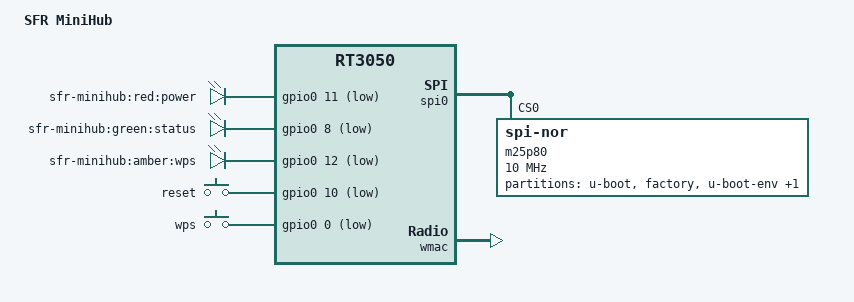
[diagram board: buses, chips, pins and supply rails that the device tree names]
/dts-v1/;

#include "rt3050.dtsi"

/ {
	compatible = "SFR-MINIHUB", "ralink,rt3050-soc";
	model = "SFR MiniHub";

	gpio-leds {
		compatible = "gpio-leds";

		power {
			label = "sfr-minihub:red:power";
			gpios = <&gpio0 11 1>;
		};

		status {
			label = "sfr-minihub:green:status";
			gpios = <&gpio0 8 1>;
		};

		wps {
			label = "sfr-minihub:amber:wps";
			gpios = <&gpio0 12 1>;
		};
	};

	gpio-keys-polled {
		compatible = "gpio-keys-polled";
		#address-cells = <1>;
		#size-cells = <0>;
		poll-interval = <20>;

		reset {
			label = "reset";
			gpios = <&gpio0 10 1>;
			linux,code = <0x198>;
		};

		wps {
			label = "wps";
			gpios = <&gpio0 0 1>;
			linux,code = <0x211>;
		};
	};
};

&gpio0 {
	status = "okay";
};

&spi0 {
	status = "okay";

	m25p80@0 {
		#address-cells = <1>;
		#size-cells = <1>;
		compatible = "jedec,spi-nor";
		reg = <0>;
		linux,modalias = "m25p80", "mx25l3205d";
		spi-max-frequency = <10000000>;

		partition@0 {
			label = "u-boot";
			reg = <0x0 0x2fd70>;
			read-only;
		};

		factory: partition@2fd70 {
			label = "factory";
			reg = <0x2fd70 0x290>;
			read-only;
		};

		partition@30000 {
			label = "u-boot-env";
			reg = <0x30000 0x10000>;
			read-only;
		};

		partition@40000 {
			label = "firmware";
			reg = <0x40000 0x3b0000>;
		};
	};
};

&pinctrl {
	state_default: pinctrl0 {
		gpio {
			ralink,group = "i2c", "jtag", "rgmii", "mdio", "uartf";
			ralink,function = "gpio";
		};
	};
};

&ethernet {
	mtd-mac-address = <&factory 0x4>;
};

&esw {
	mediatek,portmap = <0x3e>;
};

&wmac {
	ralink,mtd-eeprom = <&factory 0>;
};
